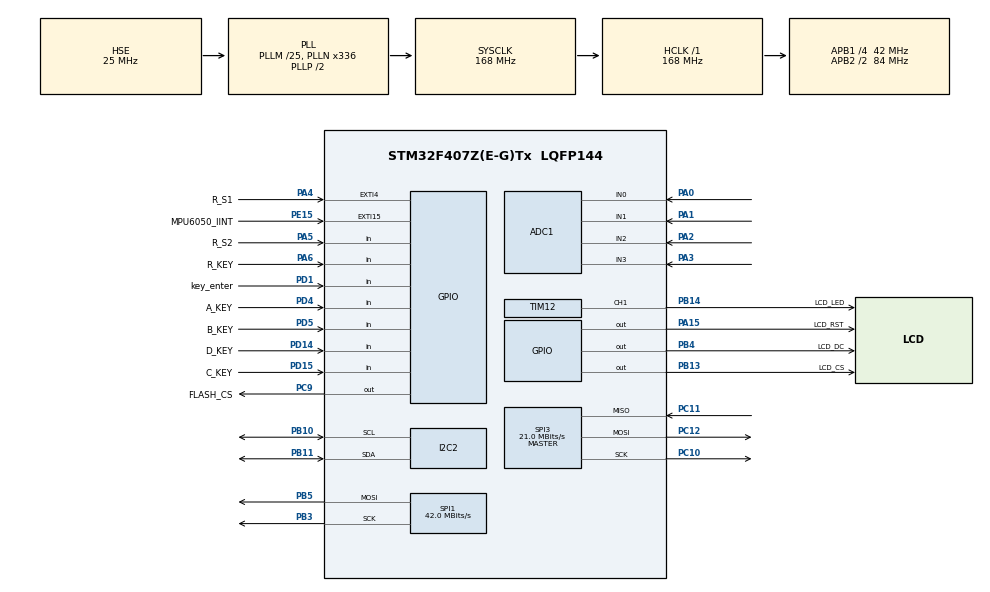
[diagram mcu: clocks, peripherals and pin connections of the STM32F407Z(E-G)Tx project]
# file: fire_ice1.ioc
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ADC1.Channel-0\#ChannelRegularConversion=ADC_CHANNEL_0
ADC1.Channel-1\#ChannelRegularConversion=ADC_CHANNEL_1
ADC1.Channel-2\#ChannelRegularConversion=ADC_CHANNEL_2
ADC1.Channel-3\#ChannelRegularConversion=ADC_CHANNEL_3
ADC1.ContinuousConvMode=ENABLE
ADC1.DMAContinuousRequests=ENABLE
ADC1.EOCSelection=ADC_EOC_SINGLE_CONV
ADC1.NbrOfConversion=4
ADC1.NbrOfConversionFlag=1
ADC1.Rank-0\#ChannelRegularConversion=1
ADC1.Rank-1\#ChannelRegularConversion=2
ADC1.Rank-2\#ChannelRegularConversion=3
ADC1.Rank-3\#ChannelRegularConversion=4
ADC1.SamplingTime-0\#ChannelRegularConversion=ADC_SAMPLETIME_480CYCLES
ADC1.SamplingTime-1\#ChannelRegularConversion=ADC_SAMPLETIME_480CYCLES
ADC1.SamplingTime-2\#ChannelRegularConversion=ADC_SAMPLETIME_480CYCLES
ADC1.SamplingTime-3\#ChannelRegularConversion=ADC_SAMPLETIME_480CYCLES
ADC1.ScanConvMode=ENABLE
ADC1.master=1
Dma.ADC1.0.Direction=DMA_PERIPH_TO_MEMORY
Dma.ADC1.0.FIFOMode=DMA_FIFOMODE_DISABLE
Dma.ADC1.0.Instance=DMA2_Stream0
Dma.ADC1.0.MemDataAlignment=DMA_MDATAALIGN_HALFWORD
Dma.ADC1.0.MemInc=DMA_MINC_ENABLE
Dma.ADC1.0.Mode=DMA_CIRCULAR
Dma.ADC1.0.PeriphDataAlignment=DMA_PDATAALIGN_HALFWORD
Dma.ADC1.0.PeriphInc=DMA_PINC_DISABLE
Dma.ADC1.0.Priority=DMA_PRIORITY_LOW
Dma.Request0=ADC1
Dma.Request1=SPI1_TX
Dma.SPI1_TX.1.Direction=DMA_MEMORY_TO_PERIPH
Dma.SPI1_TX.1.FIFOMode=DMA_FIFOMODE_DISABLE
Dma.SPI1_TX.1.Instance=DMA2_Stream3
Dma.SPI1_TX.1.MemDataAlignment=DMA_MDATAALIGN_BYTE
Dma.SPI1_TX.1.MemInc=DMA_MINC_ENABLE
Dma.SPI1_TX.1.Mode=DMA_NORMAL
Dma.SPI1_TX.1.PeriphDataAlignment=DMA_PDATAALIGN_BYTE
Dma.SPI1_TX.1.PeriphInc=DMA_PINC_DISABLE
Dma.SPI1_TX.1.Priority=DMA_PRIORITY_LOW
FREERTOS.Tasks01=defaultTask,24,128,StartDefaultTask,Default,NULL,Dynamic,NULL,NULL
Mcu.Family=STM32F4
Mcu.Name=STM32F407Z(E-G)Tx
Mcu.Package=LQFP144
NVIC.DMA2_Stream0_IRQn=true\:5\:0\:false\:false\:true\:true\:false\:true\:true
NVIC.DMA2_Stream3_IRQn=true\:5\:0\:false\:false\:true\:true\:false\:true\:true
NVIC.EXTI15_10_IRQn=true\:5\:0\:false\:false\:true\:true\:true\:true\:true
NVIC.EXTI4_IRQn=true\:5\:0\:false\:false\:true\:true\:true\:true\:true
NVIC.PriorityGroup=NVIC_PRIORITYGROUP_4
NVIC.SPI1_IRQn=true\:5\:0\:false\:false\:true\:true\:true\:true\:true
NVIC.TIM4_IRQn=true\:5\:0\:false\:false\:true\:true\:true\:true\:true
NVIC.TIM8_TRG_COM_TIM14_IRQn=true\:5\:0\:false\:false\:true\:false\:false\:true\:true
NVIC.TimeBase=TIM8_TRG_COM_TIM14_IRQn
NVIC.TimeBaseIP=TIM14
PA0-WKUP.Signal=ADCx_IN0
PA1.Signal=ADCx_IN1
PA13.Mode=Serial_Wire
PA13.Signal=SYS_JTMS-SWDIO
PA14.Mode=Serial_Wire
PA14.Signal=SYS_JTCK-SWCLK
PA15.GPIO_Label=LCD_RST
PA15.Signal=GPIO_Output
PA2.Signal=ADCx_IN2
PA3.Signal=ADCx_IN3
PA4.GPIO_Label=R_S1
PA4.Signal=GPXTI4
PA5.GPIO_Label=R_S2
PA5.GPIO_PuPd=GPIO_PULLUP
PA5.Signal=GPIO_Input
PA6.GPIO_Label=R_KEY
PA6.GPIO_PuPd=GPIO_PULLUP
PA6.Signal=GPIO_Input
PB10.Mode=I2C
PB10.Signal=I2C2_SCL
PB11.Mode=I2C
PB11.Signal=I2C2_SDA
PB13.GPIO_Label=LCD_CS
PB13.GPIO_Speed=GPIO_SPEED_FREQ_HIGH
PB13.Signal=GPIO_Output
PB14.GPIO_Label=LCD_LED
PB14.Signal=S_TIM12_CH1
PB3.Mode=TX_Only_Simplex_Unidirect_Master
PB3.Signal=SPI1_SCK
PB4.GPIO_Label=LCD_DC
PB4.GPIO_Speed=GPIO_SPEED_FREQ_HIGH
PB4.Signal=GPIO_Output
PB5.Mode=TX_Only_Simplex_Unidirect_Master
PB5.Signal=SPI1_MOSI
PC10.Mode=Full_Duplex_Master
PC10.Signal=SPI3_SCK
PC11.Mode=Full_Duplex_Master
PC11.Signal=SPI3_MISO
PC12.Mode=Full_Duplex_Master
PC12.Signal=SPI3_MOSI
PC14-OSC32_IN.Mode=LSE-External-Oscillator
PC14-OSC32_IN.Signal=RCC_OSC32_IN
PC15-OSC32_OUT.Mode=LSE-External-Oscillator
PC15-OSC32_OUT.Signal=RCC_OSC32_OUT
PC9.GPIO_Label=FLASH_CS
PC9.GPIO_Speed=GPIO_SPEED_FREQ_HIGH
PC9.PinState=GPIO_PIN_RESET
PC9.Signal=GPIO_Output
PD1.GPIO_Label=key_enter
PD1.GPIO_PuPd=GPIO_PULLUP
PD1.Signal=GPIO_Input
PD14.GPIO_Label=D_KEY
PD14.GPIO_PuPd=GPIO_PULLUP
PD14.Signal=GPIO_Input
PD15.GPIO_Label=C_KEY
PD15.GPIO_PuPd=GPIO_PULLUP
PD15.Signal=GPIO_Input
PD4.GPIO_Label=A_KEY
PD4.GPIO_PuPd=GPIO_PULLUP
PD4.Signal=GPIO_Input
PD5.GPIO_Label=B_KEY
PD5.GPIO_PuPd=GPIO_PULLUP
PD5.Signal=GPIO_Input
PE15.GPIO_Label=MPU6050_IINT
PE15.Signal=GPXTI15
PH0-OSC_IN.Mode=HSE-External-Oscillator
PH0-OSC_IN.Signal=RCC_OSC_IN
PH1-OSC_OUT.Mode=HSE-External-Oscillator
PH1-OSC_OUT.Signal=RCC_OSC_OUT
ProjectManager.HeapSize=0x400
ProjectManager.StackSize=0x800
ProjectManager.TargetToolchain=MDK-ARM V5.32
RCC.48MHZClocksFreq_Value=84000000
RCC.AHBFreq_Value=168000000
RCC.APB1CLKDivider=RCC_HCLK_DIV4
RCC.APB1Freq_Value=42000000
RCC.APB1TimFreq_Value=84000000
RCC.APB2CLKDivider=RCC_HCLK_DIV2
RCC.APB2Freq_Value=84000000
RCC.APB2TimFreq_Value=168000000
RCC.CortexFreq_Value=168000000
RCC.HCLKFreq_Value=168000000
RCC.HSE_VALUE=25000000
RCC.HSI_VALUE=16000000
RCC.PLLM=25
RCC.PLLN=336
RCC.PLLSourceVirtual=RCC_PLLSOURCE_HSE
RCC.SYSCLKFreq_VALUE=168000000
RCC.SYSCLKSource=RCC_SYSCLKSOURCE_PLLCLK
RCC.VCOOutputFreq_Value=336000000
SH.ADCx_IN0.0=ADC1_IN0,IN0
SH.ADCx_IN1.0=ADC1_IN1,IN1
SH.ADCx_IN2.0=ADC1_IN2,IN2
SH.ADCx_IN3.0=ADC1_IN3,IN3
SH.S_TIM12_CH1.0=TIM12_CH1,PWM Generation1 CH1
SPI1.BaudRatePrescaler=SPI_BAUDRATEPRESCALER_2
SPI1.CalculateBaudRate=42.0 MBits/s
SPI1.Direction=SPI_DIRECTION_2LINES
SPI1.Mode=SPI_MODE_MASTER
SPI1.VirtualType=VM_MASTER
SPI3.CalculateBaudRate=21.0 MBits/s
SPI3.Direction=SPI_DIRECTION_2LINES
SPI3.Mode=SPI_MODE_MASTER
SPI3.VirtualType=VM_MASTER
TIM12.Channel-PWM\ Generation1\ CH1=TIM_CHANNEL_1
TIM12.Period=500-1
TIM12.Prescaler=84-1
TIM3.Prescaler=84-1
TIM4.Period=1000-1
TIM4.Prescaler=84-1
VP_FREERTOS_VS_CMSIS_V2.Mode=CMSIS_V2
VP_SYS_VS_tim14.Mode=TIM14
VP_TIM12_VS_ClockSourceINT.Mode=Internal
VP_TIM3_VS_ClockSourceINT.Mode=Internal
VP_TIM4_VS_ClockSourceINT.Mode=Internal
board=custom

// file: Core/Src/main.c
/* USER CODE BEGIN Header */
/**
  ******************************************************************************
  * @file           : main.c
  * @brief          : Main program body
  ******************************************************************************
  * @attention
  *
  * Copyright (c) 2025 STMicroelectronics.
  * All rights reserved.
  *
  * This software is licensed under terms that can be found in the LICENSE file
  * in the root directory of this software component.
  * If no LICENSE file comes with this software, it is provided AS-IS.
  *
  ******************************************************************************
  */
/* USER CODE END Header */
#include "main.h"
#include "cmsis_os.h"
#include "adc.h"
#include "dma.h"
#include "i2c.h"
#include "spi.h"
#include "tim.h"
#include "gpio.h"

/* USER CODE BEGIN Includes */
#include "bsp_system.h"

//#include "FONT.h"
/* USER CODE END Includes */

void SystemClock_Config(void);
void MX_FREERTOS_Init(void);

int main(void)
{

  /* USER CODE BEGIN 1 */
// uint16_t ColorTab[5]={RED,GREEN,BLUE,YELLOW,BRED};//������ɫ����
  /* USER CODE END 1 */

  /* MCU Configuration--------------------------------------------------------*/

  /* Reset of all peripherals, Initializes the Flash interface and the Systick. */
  HAL_Init();

  /* Configure the system clock */
  SystemClock_Config();

  /* Initialize all configured peripherals */
  MX_GPIO_Init();
  MX_DMA_Init();
  MX_SPI1_Init();
  MX_TIM4_Init();
  MX_ADC1_Init();
  MX_I2C2_Init();
  MX_SPI3_Init();
  MX_TIM12_Init();
  MX_TIM3_Init();

  /* Init scheduler */
  osKernelInitialize();

  /* Call init function for freertos objects (in cmsis_os2.c) */
  MX_FREERTOS_Init();

  /* Start scheduler */
  osKernelStart();

  /* We should never get here as control is now taken by the scheduler */

  /* Infinite loop */
  /* USER CODE BEGIN WHILE */
//  LCD_Init();
//  ADC_Start();

//  LCD_Clear(BLUE);
//  LCD_ShowNum(30,30,24,2,20);
//  ADC_Start();
  while (1)
  {

    /* USER CODE END WHILE */

  }
}

void SystemClock_Config(void)
{
  RCC_OscInitTypeDef RCC_OscInitStruct = {0};
  RCC_ClkInitTypeDef RCC_ClkInitStruct = {0};

  /** Configure the main internal regulator output voltage
  */
  __HAL_RCC_PWR_CLK_ENABLE();
  __HAL_PWR_VOLTAGESCALING_CONFIG(PWR_REGULATOR_VOLTAGE_SCALE1);

  /** Initializes the RCC Oscillators according to the specified parameters
  * in the RCC_OscInitTypeDef structure.
  */
  RCC_OscInitStruct.OscillatorType = RCC_OSCILLATORTYPE_HSE;
  RCC_OscInitStruct.HSEState = RCC_HSE_ON;
  RCC_OscInitStruct.PLL.PLLState = RCC_PLL_ON;
  RCC_OscInitStruct.PLL.PLLSource = RCC_PLLSOURCE_HSE;
  RCC_OscInitStruct.PLL.PLLM = 25;
  RCC_OscInitStruct.PLL.PLLN = 336;
  RCC_OscInitStruct.PLL.PLLP = RCC_PLLP_DIV2;
  RCC_OscInitStruct.PLL.PLLQ = 4;
  if (HAL_RCC_OscConfig(&RCC_OscInitStruct) != HAL_OK)
  {
    Error_Handler();
  }

  /** Initializes the CPU, AHB and APB buses clocks
  */
  RCC_ClkInitStruct.ClockType = RCC_CLOCKTYPE_HCLK|RCC_CLOCKTYPE_SYSCLK
                              |RCC_CLOCKTYPE_PCLK1|RCC_CLOCKTYPE_PCLK2;
  RCC_ClkInitStruct.SYSCLKSource = RCC_SYSCLKSOURCE_PLLCLK;
  RCC_ClkInitStruct.AHBCLKDivider = RCC_SYSCLK_DIV1;
  RCC_ClkInitStruct.APB1CLKDivider = RCC_HCLK_DIV4;
  RCC_ClkInitStruct.APB2CLKDivider = RCC_HCLK_DIV2;

  if (HAL_RCC_ClockConfig(&RCC_ClkInitStruct, FLASH_LATENCY_5) != HAL_OK)
  {
    Error_Handler();
  }
}

void HAL_TIM_PeriodElapsedCallback(TIM_HandleTypeDef *htim)
{
  if (htim->Instance == TIM14)
  {
    HAL_IncTick();
  }
}

void Error_Handler(void)
{
  __disable_irq();
  while (1)
  {
  }
}

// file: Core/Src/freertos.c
/* USER CODE BEGIN Header */
/**
  ******************************************************************************
  * File Name          : freertos.c
  * Description        : Code for freertos applications
  ******************************************************************************
  * @attention
  *
  * Copyright (c) 2025 STMicroelectronics.
  * All rights reserved.
  *
  * This software is licensed under terms that can be found in the LICENSE file
  * in the root directory of this software component.
  * If no LICENSE file comes with this software, it is provided AS-IS.
  *
  ******************************************************************************
  */
/* USER CODE END Header */

#include "FreeRTOS.h"
#include "task.h"
#include "main.h"
#include "cmsis_os.h"

/* USER CODE BEGIN Includes */
#include "bsp_system.h"
/* USER CODE END Includes */

/* USER CODE BEGIN Variables */
static SemaphoreHandle_t g_xI2CMutex;
TaskHandle_t game1TaskHandle = NULL;
TaskHandle_t menuTaskHandle = NULL;
uint8_t light=1;
uint8_t led111=1;

/* USER CODE END Variables */
/* Definitions for defaultTask */
osThreadId_t defaultTaskHandle;
const osThreadAttr_t defaultTask_attributes = {
  .name = "defaultTask",
  .stack_size = 128 * 4,
  .priority = (osPriority_t) osPriorityNormal,
};

/* USER CODE BEGIN FunctionPrototypes */
void GetI2C(void)
{
	xSemaphoreTake(g_xI2CMutex,portMAX_DELAY);

}

void PutI2C(void)
{
	xSemaphoreGive(g_xI2CMutex);

}

/* USER CODE END FunctionPrototypes */

void StartDefaultTask(void *argument);

void MX_FREERTOS_Init(void); /* (MISRA C 2004 rule 8.1) */

void MX_FREERTOS_Init(void) {
  /* USER CODE BEGIN Init */
	HAL_TIM_PWM_Start(&htim12,TIM_CHANNEL_1);//启用定时器通道
	//HAL_TIM_PWM_Start(&htim3,TIM_CHANNEL_1);//启用定时器通道
	g_xI2CMutex = xSemaphoreCreateMutex();//i2c����������

	LCD_Init();
	extern void LCD_LIGHT(uint16_t num);
	LCD_LIGHT(400);
	ADC_Start();//��ʼ����ҡ������
	//RotaryEncoder_Init();//��ת��������ʼ��
	MPU6050_Init();

  /* USER CODE END Init */

  /* Create the thread(s) */
  /* creation of defaultTask */
  defaultTaskHandle = osThreadNew(StartDefaultTask, NULL, &defaultTask_attributes);

  /* USER CODE BEGIN RTOS_THREADS */
  /* add threads, ... */
   xTaskCreate(menu_task, "MenuTask", 128, NULL, osPriorityNormal, &menuTaskHandle);
  //xTaskCreate(game1_task, "GameTask", 128, NULL, osPriorityNormal, NULL);
  //xTaskCreate(MPU6050_Task, "GameTask", 128, NULL, osPriorityNormal, NULL);

  /* USER CODE END RTOS_THREADS */

}

void StartDefaultTask(void *argument)
{
  /* USER CODE BEGIN StartDefaultTask */
  /* Infinite loop */
  for(;;)
  {
	  while(1)
	  {
		KEY_Data k_data1;
		key_read(&k_data1);
		if(k_data1.D_KEY==0)
		{
			vTaskDelay(50);
			if(k_data1.D_KEY==0)
			{
				while(!k_data1.D_KEY){key_read(&k_data1); };
				led111^=1;
			}

		}

		light=HAL_GPIO_ReadPin(GPIOE,GPIO_PIN_5);

		if(!led111)
		{
			LCD_LED_CLR;

		}

		else if(led111)
		{
		if(light)
		{
			LCD_LIGHT(400);
		}
		else
		{
			LCD_LIGHT(150);
		}
	}
	  }
	  //music1();
	  //W25Q64_Erase(4096,4096);
	  //W25Q64_Test();
	  /*播放音乐，调节声音*/

  }
  /* USER CODE END StartDefaultTask */
}
